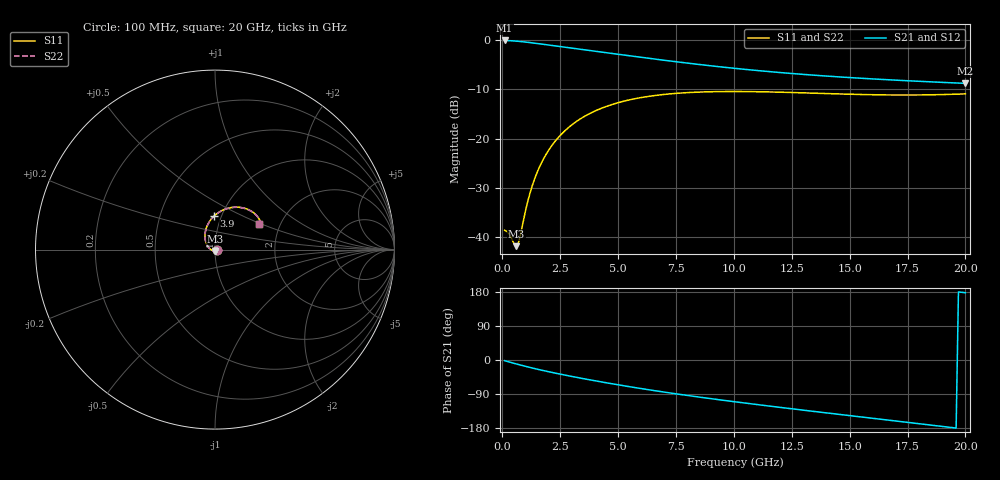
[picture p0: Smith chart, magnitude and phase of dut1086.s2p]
! Touchstone file exported from HFSS 2024.1.0
!  File:  C:/UserFiles/LocalFiles/RDL_TSV_Batchsim/temp_RDL_TSV_1086_1780096804.aedt
!  Generated:  07:30:55 AM May 30, 2026
!  Design:  RDL_TSV
!  Project:  temp_RDL_TSV_1086_1780096804
!  Setup:  Setup1
!  Solution:  Sweep
! Variables:
!  dtsv = 14.51um
!  hbump = 3um
!  htsv = 61.44um
!  ldown = 330.03um
!  lrdl = 408.33um
!  p = 40
!  p1 = 56.14um
!  rhole = 10um
!  subl = 2623.41um
!  t = 450um
!  tdown = 3.7um
!  trdl = 3.59um
!  viad = 10um
!  wdown = 17.19um
!  wrdl = 27.67um
!  xbump = 18um
# GHz S MA R 50.000000
! Terminal data exported
! Port[1] = TM1_1_T1
! Port[2] = TM1_4_T1
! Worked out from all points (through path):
!   200 points, 100 MHz to 20 GHz, reference 50 ohm
!   highest |S21| = -0.11 dB at 100 MHz (marker M1); lowest = -8.8 dB at 20 GHz (marker M2)
!   group delay of S21, straight-line fit = 23.7 ps
!   lowest |S11| = -41.8 dB at 600 MHz (marker M3), VSWR 1.02, Z = 50 - j0.812 ohm
!   |S11| at or under -10 dB: start of sweep to end of sweep
!   |S22| runs from -41.8 to -10.5 dB; largest |S21 - S12| = 1.3e-14
!   S11 on the Smith chart (normalised r, x): 100 MHz: 1.02, -0.00; 3.9 GHz: 0.92, +0.35; 20 GHz: 1.56, +0.48
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0.1  0.01175 -6.9  0.9875 -1.8  0.9875 -1.8  0.01175 -6.9
! Gamma 0 0 0 0
! Port Impedance 50 0 50 0
0.3  0.01078 -26.7  0.9832 -5.3  0.9832 -5.3  0.01079 -26.7
0.5  0.008663 -60.8  0.9765 -8.7  0.9765 -8.7  0.008669 -60.8
0.6  0.008122 -86.6  0.9724 -10.3  0.9724 -10.3  0.008126 -86.6
0.7  0.008821 -115.4  0.9678 -12.0  0.9678 -12.0  0.008818 -115.3
1  0.01845 -170.5  0.9517 -16.7  0.9517 -16.7  0.01842 -170.4
1.2  0.02821 172.0  0.9396 -19.8  0.9396 -19.8  0.02816 172.0
1.4  0.03928 159.8  0.9269 -22.7  0.9269 -22.7  0.03921 159.8
1.7  0.0573 146.0  0.9072 -26.9  0.9072 -26.9  0.05719 146.0
2.1  0.08245 132.0  0.8811 -32.2  0.8811 -32.2  0.08229 132.0
2.5  0.1076 120.7  0.8558 -37.3  0.8558 -37.3  0.1074 120.7
3  0.1376 109.0  0.8254 -43.4  0.8254 -43.4  0.1373 108.9
3.5  0.1653 99.1  0.7964 -49.2  0.7964 -49.2  0.165 99.0
3.9  0.1855 92.2  0.774 -53.7  0.774 -53.7  0.1851 92.1
5.2  0.2378 73.9  0.7053 -67.5  0.7053 -67.5  0.2373 73.9
6.8  0.2771 57.6  0.6302 -83.0  0.6302 -83.0  0.2764 57.6
8.4  0.2954 45.9  0.5672 -97.0  0.5672 -97.0  0.2947 45.9
10.1  0.3001 37.2  0.5133 -110.7  0.5133 -110.7  0.2993 37.1
11.7  0.2965 31.6  0.4734 -122.9  0.4734 -122.9  0.2956 31.6
13.4  0.2888 28.2  0.4401 -135.3  0.4401 -135.3  0.288 28.1
16.7  0.2768 27.1  0.3941 -158.9  0.3941 -158.9  0.2759 27.0
20  0.284 29.8  0.3628 177.6  0.3628 177.6  0.2831 29.7
